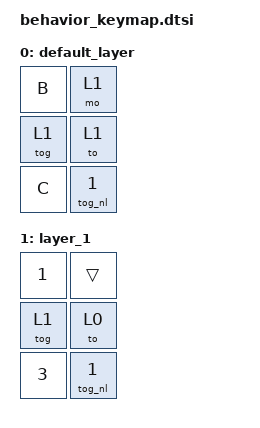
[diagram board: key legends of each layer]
#include <dt-bindings/zmk/keys.h>
#include <behaviors.dtsi>
#include <dt-bindings/zmk/kscan_mock.h>

/*
 * Fork patch: upstream layer locking (PATCH_LAYER_LOCKING.md). Stock &tog and &to lock;
 * &mo does not; &tog_nl is an opt-out instance without `locking;`.
 */
/ {
    behaviors {
        tog_nl: tog_nl {
            compatible = "zmk,behavior-toggle-layer";
            #binding-cells = <1>;
        };
    };

    keymap {
        compatible = "zmk,keymap";

        default_layer {
            bindings = <
                &kp B   &mo 1
                &tog 1  &to 1
                &kp C   &tog_nl 1>;
        };

        layer_1 {
            bindings = <
                &kp N1  &trans
                &tog 1  &to 0
                &kp N3  &tog_nl 1>;
        };
    };
};

&kscan {
    rows = <3>;
};
